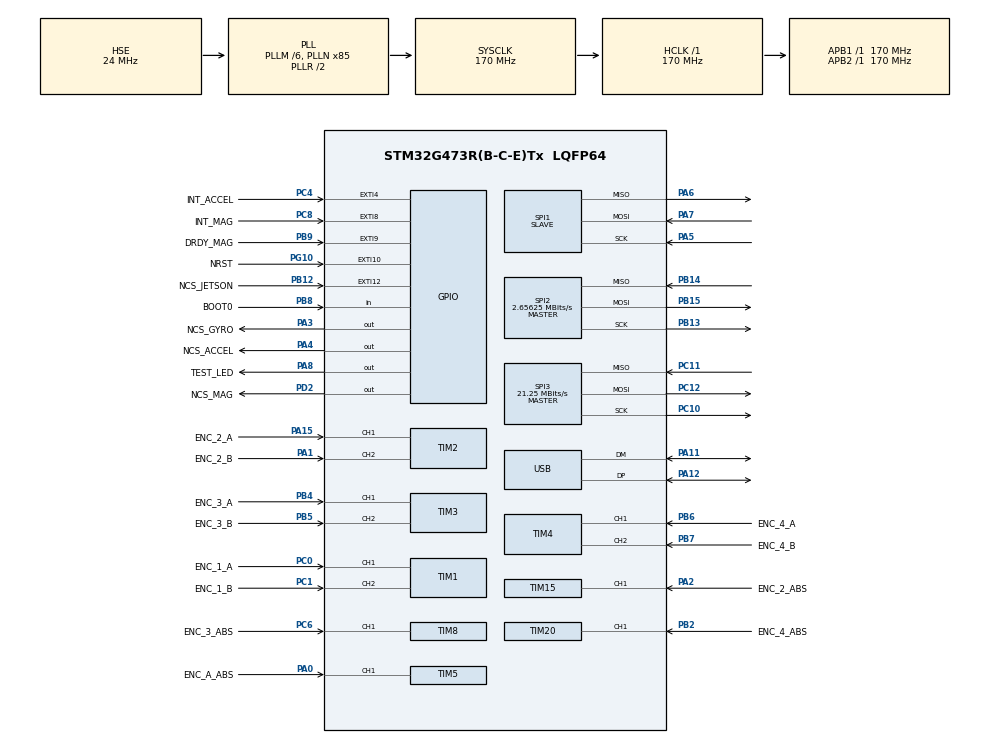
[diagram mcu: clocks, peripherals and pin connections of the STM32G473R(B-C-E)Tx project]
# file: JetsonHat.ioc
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Mcu.Family=STM32G4
Mcu.Name=STM32G473R(B-C-E)Tx
Mcu.Package=LQFP64
NVIC.EXTI9_5_IRQn=true\:1\:0\:true\:false\:true\:true\:true\:true
NVIC.PriorityGroup=NVIC_PRIORITYGROUP_4
NVIC.TIM1_BRK_TIM15_IRQn=true\:0\:0\:false\:false\:true\:true\:true\:true
NVIC.TIM20_CC_IRQn=true\:0\:0\:false\:false\:true\:true\:true\:true
NVIC.TIM5_IRQn=true\:0\:0\:false\:false\:true\:true\:true\:true
NVIC.TIM8_CC_IRQn=true\:0\:0\:false\:false\:true\:true\:true\:true
PA0.GPIO_Label=ENC_A_ABS
PA0.Signal=S_TIM5_CH1
PA1.GPIO_Label=ENC_2_B
PA1.Signal=S_TIM2_CH2
PA11.Mode=Device
PA11.Signal=USB_DM
PA12.Mode=Device
PA12.Signal=USB_DP
PA13.Mode=Trace_Asynchronous_SW
PA13.Signal=SYS_JTMS-SWDIO
PA14.Mode=Trace_Asynchronous_SW
PA14.Signal=SYS_JTCK-SWCLK
PA15.GPIO_Label=ENC_2_A
PA15.Signal=S_TIM2_CH1
PA2.GPIO_Label=ENC_2_ABS
PA2.Signal=S_TIM15_CH1
PA3.GPIO_Label=NCS_GYRO
PA3.Signal=GPIO_Output
PA4.GPIO_Label=NCS_ACCEL
PA4.Signal=GPIO_Output
PA5.Mode=Full_Duplex_Slave
PA5.Signal=SPI1_SCK
PA6.Mode=Full_Duplex_Slave
PA6.Signal=SPI1_MISO
PA7.Mode=Full_Duplex_Slave
PA7.Signal=SPI1_MOSI
PA8.GPIO_Label=TEST_LED
PA8.Signal=GPIO_Output
PB12.GPIO_Label=NCS_JETSON
PB12.Signal=GPXTI12
PB13.Mode=Full_Duplex_Master
PB13.Signal=SPI2_SCK
PB14.Mode=Full_Duplex_Master
PB14.Signal=SPI2_MISO
PB15.Mode=Full_Duplex_Master
PB15.Signal=SPI2_MOSI
PB2.GPIO_Label=ENC_4_ABS
PB2.Mode=PWM_Input_1
PB2.Signal=TIM20_CH1
PB3.Mode=Trace_Asynchronous_SW
PB3.Signal=SYS_JTDO-SWO
PB4.GPIO_Label=ENC_3_A
PB4.Signal=S_TIM3_CH1
PB5.GPIO_Label=ENC_3_B
PB5.Signal=S_TIM3_CH2
PB6.GPIO_Label=ENC_4_A
PB6.Signal=S_TIM4_CH1
PB7.GPIO_Label=ENC_4_B
PB7.Signal=S_TIM4_CH2
PB8-BOOT0.GPIO_Label=BOOT0
PB8-BOOT0.Signal=GPIO_Input
PB9.GPIO_Label=DRDY_MAG
PB9.Signal=GPXTI9
PC0.GPIO_Label=ENC_1_A
PC0.Signal=S_TIM1_CH1
PC1.GPIO_Label=ENC_1_B
PC1.Signal=S_TIM1_CH2
PC10.Mode=Full_Duplex_Master
PC10.Signal=SPI3_SCK
PC11.Mode=Full_Duplex_Master
PC11.Signal=SPI3_MISO
PC12.Mode=Full_Duplex_Master
PC12.Signal=SPI3_MOSI
PC4.GPIO_Label=INT_ACCEL
PC4.Signal=GPXTI4
PC6.GPIO_Label=ENC_3_ABS
PC6.Signal=S_TIM8_CH1
PC8.GPIO_Label=INT_MAG
PC8.Signal=GPXTI8
PD2.GPIO_Label=NCS_MAG
PD2.Signal=GPIO_Output
PF0-OSC_IN.Mode=HSE-External-Oscillator
PF0-OSC_IN.Signal=RCC_OSC_IN
PF1-OSC_OUT.Mode=HSE-External-Oscillator
PF1-OSC_OUT.Signal=RCC_OSC_OUT
PG10-NRST.GPIO_Label=NRST
PG10-NRST.Signal=GPXTI10
ProjectManager.HeapSize=0x200
ProjectManager.StackSize=0x400
ProjectManager.TargetToolchain=STM32CubeIDE
RCC.ADC12Freq_Value=170000000
RCC.ADC345Freq_Value=170000000
RCC.AHBFreq_Value=170000000
RCC.APB1Freq_Value=170000000
RCC.APB1TimFreq_Value=170000000
RCC.APB2Freq_Value=170000000
RCC.APB2TimFreq_Value=170000000
RCC.CK48CLockSelection=RCC_USBCLKSOURCE_HSI48
RCC.CortexFreq_Value=170000000
RCC.EXTERNAL_CLOCK_VALUE=12288000
RCC.HCLKFreq_Value=170000000
RCC.HSE_VALUE=24000000
RCC.HSI48_VALUE=48000000
RCC.HSI_VALUE=16000000
RCC.LSE_VALUE=32768
RCC.PLLM=RCC_PLLM_DIV6
RCC.PLLN=85
RCC.PLLQ=RCC_PLLQ_DIV4
RCC.PLLSourceVirtual=RCC_PLLSOURCE_HSE
RCC.SYSCLKFreq_VALUE=170000000
RCC.SYSCLKSource=RCC_SYSCLKSOURCE_PLLCLK
RCC.USBFreq_Value=48000000
RCC.VCOOutputFreq_Value=340000000
SH.S_TIM15_CH1.0=TIM15_CH1,PWM_Input_1
SH.S_TIM1_CH1.0=TIM1_CH1,Encoder_Interface
SH.S_TIM1_CH2.0=TIM1_CH2,Encoder_Interface
SH.S_TIM2_CH1.0=TIM2_CH1,Encoder_Interface
SH.S_TIM2_CH2.0=TIM2_CH2,Encoder_Interface
SH.S_TIM3_CH1.0=TIM3_CH1,Encoder_Interface
SH.S_TIM3_CH2.0=TIM3_CH2,Encoder_Interface
SH.S_TIM4_CH1.0=TIM4_CH1,Encoder_Interface
SH.S_TIM4_CH2.0=TIM4_CH2,Encoder_Interface
SH.S_TIM5_CH1.0=TIM5_CH1,PWM_Input_1
SH.S_TIM8_CH1.0=TIM8_CH1,PWM_Input_1
SPI1.Direction=SPI_DIRECTION_2LINES
SPI1.Mode=SPI_MODE_SLAVE
SPI1.VirtualType=VM_SLAVE
SPI2.BaudRatePrescaler=SPI_BAUDRATEPRESCALER_64
SPI2.CalculateBaudRate=2.65625 MBits/s
SPI2.Direction=SPI_DIRECTION_2LINES
SPI2.Mode=SPI_MODE_MASTER
SPI2.VirtualType=VM_MASTER
SPI3.BaudRatePrescaler=SPI_BAUDRATEPRESCALER_8
SPI3.CalculateBaudRate=21.25 MBits/s
SPI3.Direction=SPI_DIRECTION_2LINES
SPI3.Mode=SPI_MODE_MASTER
SPI3.VirtualType=VM_MASTER
board=custom

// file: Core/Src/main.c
/* USER CODE BEGIN Header */
/**
  ******************************************************************************
  * @file           : main.c
  * @brief          : Main program body
  ******************************************************************************
  * @attention
  *
  * Copyright (c) 2023 STMicroelectronics.
  * All rights reserved.
  *
  * This software is licensed under terms that can be found in the LICENSE file
  * in the root directory of this software component.
  * If no LICENSE file comes with this software, it is provided AS-IS.
  *
  ******************************************************************************
  */
/* USER CODE END Header */
#include "main.h"
#include "spi.h"
#include "tim.h"
#include "usb.h"
#include "gpio.h"

/* USER CODE BEGIN Includes */
#include "structs.h"
#include "hw_config.h"
#include "encoder.h"
#include "jetson.h"
#include "sensors.h"
#include "callbacks.h"
/* USER CODE END Includes */

/* USER CODE BEGIN PV */
Encoder_Struct encoder_1;
Encoder_Config encoder_cfg;
Jetson_Struct jetson;
Sensors_Struct sensors;
/* USER CODE END PV */

void SystemClock_Config(void);

int main(void)
{
  /* USER CODE BEGIN 1 */
	encoder_cfg.counts_per_revolution = 8192;
	encoder_cfg.maximum_pulse = 1024;
	encoder_cfg.output_period = 1025;
  /* USER CODE END 1 */

  /* MCU Configuration--------------------------------------------------------*/

  /* Reset of all peripherals, Initializes the Flash interface and the Systick. */
  HAL_Init();

  /* Configure the system clock */
  SystemClock_Config();

  /* Initialize all configured peripherals */
  MX_GPIO_Init();
  MX_SPI1_Init();
  MX_SPI2_Init();
  MX_SPI3_Init();
  MX_TIM1_Init();
  MX_TIM2_Init();
  MX_TIM3_Init();
  MX_TIM4_Init();
  MX_TIM5_Init();
  MX_TIM8_Init();
  MX_TIM15_Init();
  MX_TIM20_Init();
  MX_USB_PCD_Init();
  /* USER CODE BEGIN 2 */
  Encoder_Init(&encoder_1, &htim3, &htim5, &encoder_cfg);
  sensors.encoder_1 = &encoder_1;
  sensors.encoder_2 = &encoder_1;
  sensors.encoder_3 = &encoder_1;
  sensors.encoder_4 = &encoder_1;
  Encoder_Start(&encoder_1);
  Jetson_Init(&jetson, &hspi2, NCS_JETSON_Pin);
  /* USER CODE END 2 */

  /* Infinite loop */
  /* USER CODE BEGIN WHILE */
  while (1)
  {
//	  HAL_GPIO_TogglePin(GPIOA, GPIO_PIN_8);
//	  HAL_Delay(100);
    /* USER CODE END WHILE */

  }
}

void SystemClock_Config(void)
{
  RCC_OscInitTypeDef RCC_OscInitStruct = {0};
  RCC_ClkInitTypeDef RCC_ClkInitStruct = {0};

  /** Configure the main internal regulator output voltage
  */
  HAL_PWREx_ControlVoltageScaling(PWR_REGULATOR_VOLTAGE_SCALE1_BOOST);

  /** Initializes the RCC Oscillators according to the specified parameters
  * in the RCC_OscInitTypeDef structure.
  */
  RCC_OscInitStruct.OscillatorType = RCC_OSCILLATORTYPE_HSI48|RCC_OSCILLATORTYPE_HSE;
  RCC_OscInitStruct.HSEState = RCC_HSE_ON;
  RCC_OscInitStruct.HSI48State = RCC_HSI48_ON;
  RCC_OscInitStruct.PLL.PLLState = RCC_PLL_ON;
  RCC_OscInitStruct.PLL.PLLSource = RCC_PLLSOURCE_HSE;
  RCC_OscInitStruct.PLL.PLLM = RCC_PLLM_DIV6;
  RCC_OscInitStruct.PLL.PLLN = 85;
  RCC_OscInitStruct.PLL.PLLP = RCC_PLLP_DIV2;
  RCC_OscInitStruct.PLL.PLLQ = RCC_PLLQ_DIV4;
  RCC_OscInitStruct.PLL.PLLR = RCC_PLLR_DIV2;
  if (HAL_RCC_OscConfig(&RCC_OscInitStruct) != HAL_OK)
  {
    Error_Handler();
  }

  /** Initializes the CPU, AHB and APB buses clocks
  */
  RCC_ClkInitStruct.ClockType = RCC_CLOCKTYPE_HCLK|RCC_CLOCKTYPE_SYSCLK
                              |RCC_CLOCKTYPE_PCLK1|RCC_CLOCKTYPE_PCLK2;
  RCC_ClkInitStruct.SYSCLKSource = RCC_SYSCLKSOURCE_PLLCLK;
  RCC_ClkInitStruct.AHBCLKDivider = RCC_SYSCLK_DIV1;
  RCC_ClkInitStruct.APB1CLKDivider = RCC_HCLK_DIV1;
  RCC_ClkInitStruct.APB2CLKDivider = RCC_HCLK_DIV1;

  if (HAL_RCC_ClockConfig(&RCC_ClkInitStruct, FLASH_LATENCY_4) != HAL_OK)
  {
    Error_Handler();
  }
}

void Error_Handler(void)
{
  __disable_irq();
  while (1)
  {
  }
}
